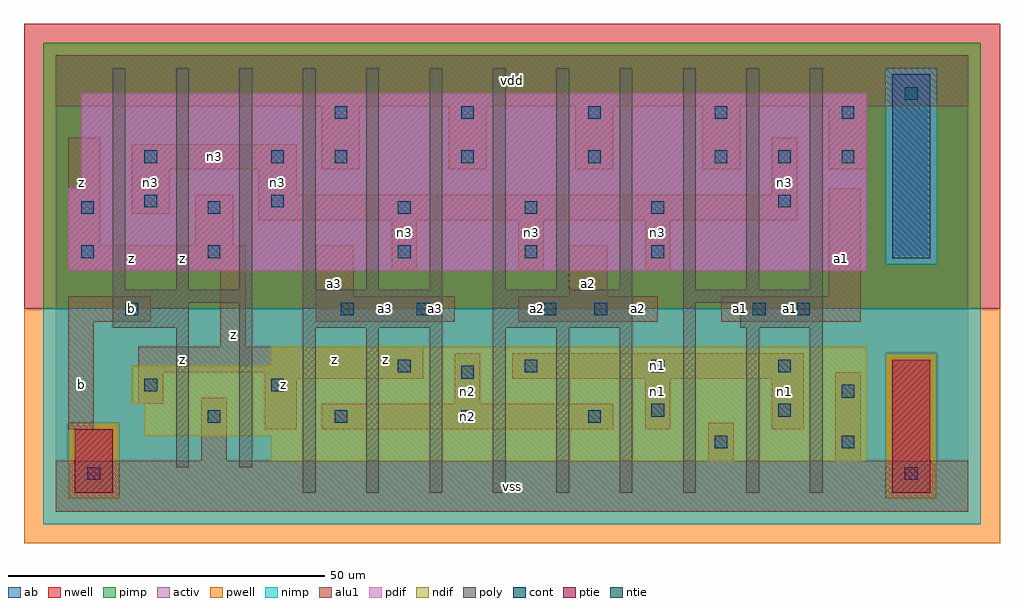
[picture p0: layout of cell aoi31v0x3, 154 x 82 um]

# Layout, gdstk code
import gdstk
lib = gdstk.Library(unit=1e-6, precision=1e-09)
def R(c, l, rs):  # rectangles x0, y0, x1, y1
    for r in rs: c.add(gdstk.rectangle(r[:2], r[2:], *l))
def A(c, l, x, y, w, h, nx, ny, dx, dy):  # array of equal rectangles
    R(c, l, [(x+i*dx, y+j*dy, x+i*dx+w, y+j*dy+h) for i in range(nx) for j in range(ny)])
ndif = (3, 0)
pdif = (4, 0)
ntie = (5, 0)
ptie = (6, 0)
cont = (25, 0)
pwell = (41, 0)
nwell = (42, 0)
activ = (43, 0)
pimp = (44, 0)
nimp = (45, 0)
poly = (46, 0)
alu1 = (49, 0)
ab = (63, 0)

aoi31v0x3 = lib.new_cell('aoi31v0x3')
R(aoi31v0x3, ndif, [(34,8,128,12), (14,12,128,17), (12,17,128,23), (34,23,128,26)])
R(aoi31v0x3, pdif, [(2,38,128,51), (4,51,128,66)])
R(aoi31v0x3, ntie, [(132,40,138,69)])
R(aoi31v0x3, ptie, [(3,3,9,13), (132,3,138,24)])
A(aoi31v0x3, cont, 24, 14, 2, 2, 4, 1, 20, 0)
A(aoi31v0x3, cont, 54, 22, 2, 2, 4, 1, 20, 0)
A(aoi31v0x3, cont, 54, 40, 2, 2, 3, 2, 20, 7)
A(aoi31v0x3, cont, 44, 55, 2, 2, 4, 1, 20, 0)
A(aoi31v0x3, cont, 44, 62, 2, 2, 5, 1, 20, 0)
R(aoi31v0x3, cont, [(5,5,7,7), (134,5,136,7), (104,10,106,12), (124,10,126,12), (94,15,96,17), (114,15,116,17), (124,18,126,20), (14,19,16,21), (34,19,36,21), (64,21,66,23), (11,31,13,33), (45,31,47,33), (57,31,59,33), (77,31,79,33), (85,31,87,33), (110,31,112,33), (117,31,119,33), (4,40,6,42), (24,40,26,42), (4,47,6,49), (24,47,26,49), (14,48,16,50), (34,48,36,50), (114,48,116,50), (14,55,16,57), (34,55,36,57), (114,55,116,57), (124,55,126,57), (134,65,136,67)])
R(aoi31v0x3, pwell, [(-5,-5,149,32)])
R(aoi31v0x3, nwell, [(-5,32,149,77)])
R(aoi31v0x3, activ, [(3,3,9,13), (132,3,138,24), (34,8,128,12), (14,12,128,17), (12,17,128,23), (34,23,128,26), (2,38,128,51), (132,40,138,69), (4,51,128,66)])
R(aoi31v0x3, pimp, [(2,2,10,14), (131,2,139,25), (-2,32,146,39), (-2,39,131,70), (139,39,146,70), (-2,70,146,74)])
R(aoi31v0x3, nimp, [(-2,-2,146,2), (-2,2,2,14), (10,2,131,14), (139,2,146,25), (-2,14,131,25), (-2,25,146,32), (131,39,139,70)])
A(aoi31v0x3, poly, 39, 3, 2, 26, 6, 1, 10, 0)
A(aoi31v0x3, poly, 9, 35, 2, 35, 12, 1, 10, 0)
R(aoi31v0x3, poly, [(99,3,101,33), (109,3,111,29), (119,3,121,29), (19,7,21,29), (29,7,31,33), (9,29,21,33), (39,29,61,35), (69,29,91,35), (108,29,121,33), (9,33,31,35), (99,33,121,35)])
A(aoi31v0x3, alu1, 41, 30, 22, 4, 3, 1, 32, 0)
A(aoi31v0x3, alu1, 53, 38, 4, 8, 3, 1, 20, 0)
A(aoi31v0x3, alu1, 42, 54, 6, 10, 5, 1, 20, 0)
R(aoi31v0x3, alu1, [(0,0,144,8), (23,8,27,18), (103,8,107,14), (123,8,127,22), (2,13,6,30), (33,13,38,21), (42,13,88,17), (93,13,97,21), (113,13,118,21), (13,17,17,22), (63,17,67,25), (33,21,58,22), (72,21,118,25), (13,22,58,26), (26,26,30,38), (2,30,15,34), (41,34,47,42), (81,34,87,42), (122,34,127,51), (2,38,30,42), (2,42,7,59), (22,42,28,50), (32,46,117,50), (12,47,18,54), (32,50,38,54), (113,50,117,59), (12,54,38,58), (0,64,144,72)])
R(aoi31v0x3, ab, [(0,0,144,72)])
aoi31v0x3.add(gdstk.Label('n3', (15,52), layer=49, texttype=0))
aoi31v0x3.add(gdstk.Label('n2', (65,19), layer=49, texttype=0))
aoi31v0x3.add(gdstk.Label('n3', (55,44), layer=49, texttype=0))
aoi31v0x3.add(gdstk.Label('n3', (25,56), layer=49, texttype=0))
aoi31v0x3.add(gdstk.Label('n3', (35,52), layer=49, texttype=0))
aoi31v0x3.add(gdstk.Label('n2', (65,15), layer=49, texttype=0))
aoi31v0x3.add(gdstk.Label('n1', (95,19), layer=49, texttype=0))
aoi31v0x3.add(gdstk.Label('n3', (95,44), layer=49, texttype=0))
aoi31v0x3.add(gdstk.Label('n3', (75,44), layer=49, texttype=0))
aoi31v0x3.add(gdstk.Label('n1', (115,19), layer=49, texttype=0))
aoi31v0x3.add(gdstk.Label('n1', (95,23), layer=49, texttype=0))
aoi31v0x3.add(gdstk.Label('n3', (115,52), layer=49, texttype=0))
aoi31v0x3.add(gdstk.Label('b', (4,20), layer=49, texttype=0))
aoi31v0x3.add(gdstk.Label('z', (28,28), layer=49, texttype=0))
aoi31v0x3.add(gdstk.Label('b', (12,32), layer=49, texttype=0))
aoi31v0x3.add(gdstk.Label('z', (20,24), layer=49, texttype=0))
aoi31v0x3.add(gdstk.Label('z', (12,40), layer=49, texttype=0))
aoi31v0x3.add(gdstk.Label('z', (20,40), layer=49, texttype=0))
aoi31v0x3.add(gdstk.Label('z', (4,52), layer=49, texttype=0))
aoi31v0x3.add(gdstk.Label('z', (36,20), layer=49, texttype=0))
aoi31v0x3.add(gdstk.Label('a3', (60,32), layer=49, texttype=0))
aoi31v0x3.add(gdstk.Label('a3', (52,32), layer=49, texttype=0))
aoi31v0x3.add(gdstk.Label('z', (52,24), layer=49, texttype=0))
aoi31v0x3.add(gdstk.Label('z', (44,24), layer=49, texttype=0))
aoi31v0x3.add(gdstk.Label('a3', (44,36), layer=49, texttype=0))
aoi31v0x3.add(gdstk.Label('vss', (72,4), layer=49, texttype=0))
aoi31v0x3.add(gdstk.Label('a2', (76,32), layer=49, texttype=0))
aoi31v0x3.add(gdstk.Label('a2', (92,32), layer=49, texttype=0))
aoi31v0x3.add(gdstk.Label('a2', (84,36), layer=49, texttype=0))
aoi31v0x3.add(gdstk.Label('vdd', (72,68), layer=49, texttype=0))
aoi31v0x3.add(gdstk.Label('a1', (108,32), layer=49, texttype=0))
aoi31v0x3.add(gdstk.Label('a1', (116,32), layer=49, texttype=0))
aoi31v0x3.add(gdstk.Label('a1', (124,40), layer=49, texttype=0))

lib.write_gds('aoi31v0x3.gds')
